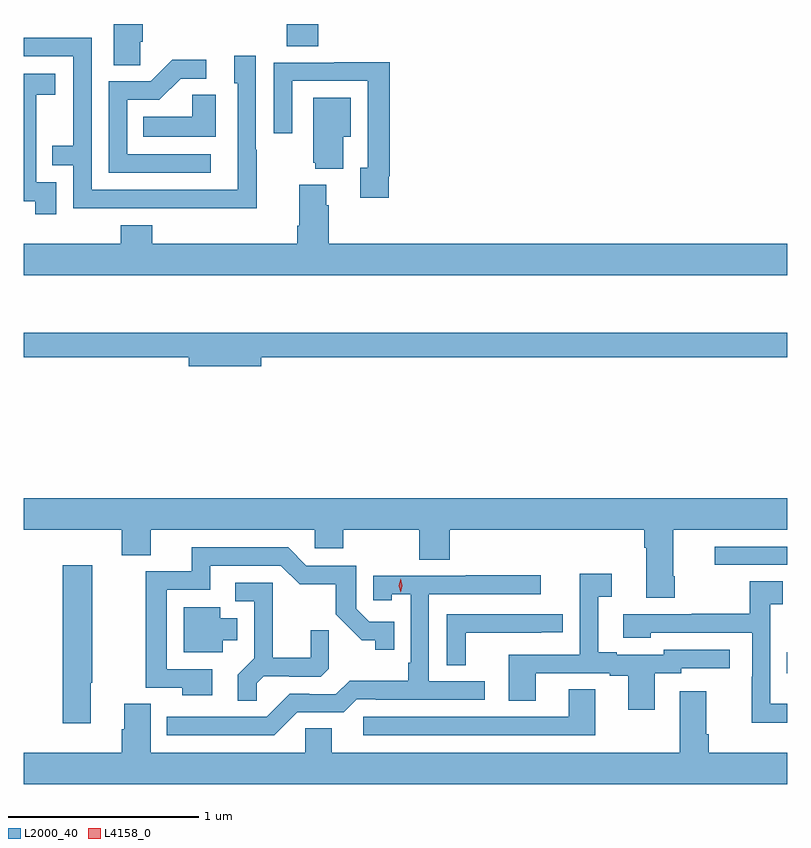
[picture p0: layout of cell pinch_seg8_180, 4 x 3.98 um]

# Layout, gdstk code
import gdstk
lib = gdstk.Library(unit=1e-6, precision=1e-09)
def R(c, l, rs):  # rectangles x0, y0, x1, y1
    for r in rs: c.add(gdstk.rectangle(r[:2], r[2:], *l))
def P(c, l, *ps):  # polygons
    for p in ps: c.add(gdstk.Polygon(p, *l))
L2000_40 = (2000, 40)
L4158_0 = (4158, 0)

pinch_seg8_180 = lib.new_cell('pinch_seg8_180')
R(pinch_seg8_180, L2000_40, [(666.421,1159.703,666.425,1159.813), (666.045,1160.271,666.425,1160.367), (663.803,1162.987,663.968,1163.104)])
P(pinch_seg8_180, L2000_40, [(663.036,1163.011),(663.05,1163.011),(663.05,1163.104),(662.897,1163.104),(662.897,1162.888),(663.036,1162.888)],
  [(663.645,1162.445),(663.642,1162.445),(663.642,1162.939),(663.527,1162.939),(663.527,1162.794),(663.546,1162.794),(663.546,1162.236),(662.781,1162.236),(662.781,1163.031),(662.425,1163.031),(662.425,1162.935),(662.685,1162.935),(662.685,1162.466),(662.575,1162.466),(662.575,1162.365),(662.685,1162.365),(662.685,1162.14),(663.181,1162.14),(663.181,1162.139),(663.645,1162.139)],
  [(663.406,1162.422),(662.967,1162.422),(662.967,1162.707),(663.136,1162.707),(663.247,1162.818),(663.382,1162.818),(663.382,1162.916),(663.203,1162.916),(663.09,1162.803),(662.871,1162.803),(662.871,1162.326),(663.406,1162.326)],
  [(664.336,1162.306),(664.343,1162.306),(664.343,1162.904),(664.051,1162.904),(664.051,1162.902),(663.735,1162.902),(663.735,1162.533),(663.831,1162.533),(663.831,1162.806),(664.227,1162.806),(664.227,1162.35),(664.187,1162.35),(664.187,1162.194),(664.336,1162.194)],
  [(662.595,1162.275),(662.49,1162.275),(662.49,1162.505),(662.492,1162.505),(662.492,1162.733),(662.59,1162.733),(662.59,1162.843),(662.425,1162.843),(662.425,1162.177),(662.487,1162.177),(662.487,1162.107),(662.595,1162.107)],
  [(663.43,1162.733),(663.309,1162.733),(663.309,1162.618),(663.052,1162.618),(663.052,1162.514),(663.43,1162.514)],
  [(664.099,1162.514),(664.138,1162.514),(664.138,1162.717),(663.941,1162.717),(663.941,1162.377),(663.953,1162.377),(663.953,1162.346),(664.099,1162.346)],
  [(666.425,1161.952),(664.022,1161.952),(664.022,1162.154),(664.009,1162.154),(664.009,1162.261),(663.869,1162.261),(663.869,1162.048),(663.857,1162.048),(663.857,1161.952),(663.098,1161.952),(663.098,1162.051),(662.933,1162.051),(662.933,1161.952),(662.425,1161.952),(662.425,1161.788),(666.425,1161.788)],
  [(663.67,1161.358),(666.425,1161.358),(666.425,1161.487),(662.425,1161.487),(662.425,1161.358),(663.29,1161.358),(663.29,1161.311),(663.67,1161.311)],
  [(662.425,1160.456),(662.939,1160.456),(662.939,1160.323),(663.091,1160.323),(663.091,1160.456),(663.951,1160.456),(663.951,1160.358),(664.098,1160.358),(664.098,1160.456),(664.498,1160.456),(664.498,1160.299),(664.658,1160.299),(664.658,1160.456),(665.675,1160.456),(665.675,1160.36),(665.687,1160.36),(665.687,1160.1),(665.835,1160.1),(665.835,1160.212),(665.827,1160.212),(665.827,1160.456),(666.425,1160.456),(666.425,1160.62),(662.425,1160.62)],
  [(663.412,1159.725),(663.174,1159.725),(663.174,1160.142),(663.403,1160.142),(663.403,1160.268),(663.771,1160.268),(663.87,1160.17),(664.059,1160.17),(664.059,1160.014),(664.196,1159.877),(664.266,1159.877),(664.266,1159.827),(664.367,1159.827),(664.367,1159.974),(664.236,1159.974),(664.167,1160.043),(664.167,1160.268),(663.906,1160.268),(663.81,1160.364),(663.305,1160.364),(663.305,1160.238),(663.066,1160.238),(663.066,1159.629),(663.256,1159.629),(663.256,1159.589),(663.412,1159.589)],
  [(662.776,1159.655),(662.784,1159.655),(662.784,1160.269),(662.63,1160.269),(662.63,1159.443),(662.776,1159.443)],
  [(665.731,1159.704),(665.868,1159.704),(665.868,1159.731),(666.124,1159.731),(666.124,1159.827),(665.778,1159.827),(665.778,1159.8),(665.53,1159.8),(665.53,1159.813),(665.434,1159.813),(665.434,1160.104),(665.506,1160.104),(665.506,1160.224),(665.337,1160.224),(665.337,1159.8),(664.967,1159.8),(664.967,1159.561),(665.107,1159.561),(665.107,1159.704),(665.495,1159.704),(665.495,1159.692),(665.591,1159.692),(665.591,1159.512),(665.731,1159.512)],
  [(663.858,1159.5),(664.101,1159.5),(664.17,1159.569),(664.27,1159.569),(664.27,1159.566),(664.84,1159.566),(664.84,1159.662),(664.548,1159.662),(664.548,1160.118),(665.134,1160.118),(665.134,1160.217),(664.741,1160.217),(664.741,1160.214),(664.257,1160.214),(664.257,1160.085),(664.353,1160.085),(664.353,1160.117),(664.452,1160.117),(664.452,1159.759),(664.44,1159.759),(664.44,1159.666),(664.132,1159.666),(664.059,1159.593),(663.92,1159.593),(663.92,1159.596),(663.819,1159.596),(663.699,1159.476),(663.176,1159.476),(663.176,1159.38),(663.738,1159.38)],
  [(666.425,1159.543),(666.336,1159.543),(666.336,1160.065),(666.4,1160.065),(666.4,1160.186),(666.228,1160.186),(666.228,1160.016),(665.923,1160.016),(665.923,1160.013),(665.565,1160.013),(665.565,1159.889),(665.709,1159.889),(665.709,1159.917),(666.24,1159.917),(666.24,1159.685),(666.238,1159.685),(666.238,1159.445),(666.425,1159.445)],
  [(663.645,1159.652),(663.682,1159.689),(663.816,1159.689),(663.816,1159.686),(663.981,1159.686),(664.022,1159.727),(664.022,1159.929),(663.928,1159.929),(663.928,1159.786),(663.731,1159.786),(663.731,1160.178),(663.534,1160.178),(663.534,1160.082),(663.633,1160.082),(663.633,1159.783),(663.547,1159.697),(663.547,1159.561),(663.645,1159.561)],
  [(663.469,1159.877),(663.544,1159.877),(663.544,1159.993),(663.454,1159.993),(663.454,1160.05),(663.263,1160.05),(663.263,1159.814),(663.469,1159.814)],
  [(664.74,1159.917),(665.135,1159.917),(665.135,1159.918),(665.248,1159.918),(665.248,1160.013),(664.641,1160.013),(664.641,1159.747),(664.74,1159.747)],
  [(665.419,1159.619),(665.279,1159.619),(665.279,1159.476),(664.203,1159.476),(664.203,1159.38),(665.419,1159.38)],
  [(666.425,1159.288),(666.014,1159.288),(666.014,1159.384),(666.001,1159.384),(666.001,1159.609),(665.861,1159.609),(665.861,1159.288),(664.039,1159.288),(664.039,1159.415),(663.9,1159.415),(663.9,1159.288),(663.091,1159.288),(663.091,1159.544),(662.951,1159.544),(662.951,1159.41),(662.939,1159.41),(662.939,1159.288),(662.425,1159.288),(662.425,1159.124),(666.425,1159.124)])
P(pinch_seg8_180, L4158_0, [(664.399,1160.127),(664.399,1160.127),(664.389,1160.163),(664.399,1160.199),(664.399,1160.199),(664.399,1160.199),(664.409,1160.163),(664.399,1160.127)])

lib.write_gds('pinch_seg8_180.gds')
